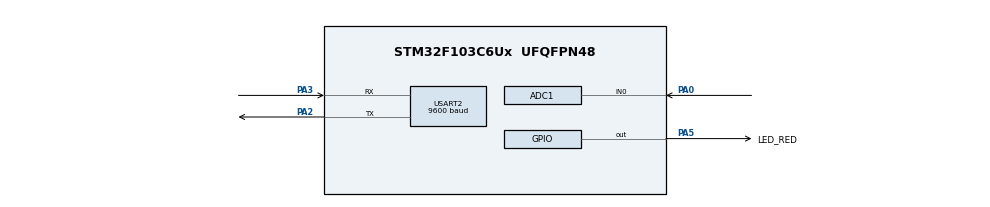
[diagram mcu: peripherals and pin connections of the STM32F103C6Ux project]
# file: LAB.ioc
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ADC1.Channel-0\#ChannelRegularConversion=ADC_CHANNEL_0
ADC1.ContinuousConvMode=ENABLE
ADC1.NbrOfConversionFlag=1
ADC1.Rank-0\#ChannelRegularConversion=1
ADC1.SamplingTime-0\#ChannelRegularConversion=ADC_SAMPLETIME_1CYCLE_5
ADC1.master=1
Mcu.Family=STM32F1
Mcu.Name=STM32F103C6Ux
Mcu.Package=UFQFPN48
NVIC.PriorityGroup=NVIC_PRIORITYGROUP_4
NVIC.USART2_IRQn=true\:0\:0\:false\:false\:true\:true\:true
PA0-WKUP.Signal=ADCx_IN0
PA2.Mode=Asynchronous
PA2.Signal=USART2_TX
PA3.Mode=Asynchronous
PA3.Signal=USART2_RX
PA5.GPIO_Label=LED_RED
PA5.Signal=GPIO_Output
PA6.Signal=S_TIM3_CH1
ProjectManager.HeapSize=0x200
ProjectManager.StackSize=0x400
ProjectManager.TargetToolchain=STM32CubeIDE
RCC.APB1Freq_Value=8000000
RCC.APB2Freq_Value=8000000
SH.ADCx_IN0.0=ADC1_IN0,IN0
SH.S_TIM3_CH1.0=TIM3_CH1
USART2.BaudRate=9600
USART2.VirtualMode=VM_ASYNC
VP_SYS_VS_ND.Mode=No_Debug
board=custom

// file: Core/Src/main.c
/* USER CODE BEGIN Header */
/**
  ******************************************************************************
  * @file           : main.c
  * @brief          : Main program body
  ******************************************************************************
  * @attention
  *
  * <h2><center>&copy; Copyright (c) 2025 STMicroelectronics.
  * All rights reserved.</center></h2>
  *
  * This software component is licensed by ST under BSD 3-Clause license,
  * the "License"; You may not use this file except in compliance with the
  * License. You may obtain a copy of the License at:
  *                        opensource.org/licenses/BSD-3-Clause
  *
  ******************************************************************************
  */
/* USER CODE END Header */
#include "main.h"

ADC_HandleTypeDef hadc1;

UART_HandleTypeDef huart2;

/* USER CODE BEGIN PV */
uint8_t temp = 0;
uint8_t buffer_flag = 0;
/* USER CODE END PV */

void SystemClock_Config(void);
static void MX_GPIO_Init(void);
static void MX_ADC1_Init(void);
static void MX_USART2_UART_Init(void);

/* USER CODE BEGIN 0 */
void HAL_UART_RxCpltCallback(UART_HandleTypeDef *huart){
	if(huart->Instance == USART2){
		buffer_flag = 1;
		HAL_UART_Transmit(&huart2, &temp, 1, 50);
		HAL_UART_Receive_IT(&huart2, (uint8_t *)&temp, 1);
	}
}
/* USER CODE END 0 */

int main(void)
{

  /* MCU Configuration--------------------------------------------------------*/

  /* Reset of all peripherals, Initializes the Flash interface and the Systick. */
  HAL_Init();

  /* Configure the system clock */
  SystemClock_Config();

  /* Initialize all configured peripherals */
  MX_GPIO_Init();
  MX_ADC1_Init();
  MX_USART2_UART_Init();
  /* USER CODE BEGIN 2 */
  protocol_fsm_init();
  HAL_UART_Receive_IT(&huart2, (uint8_t *)&temp, 1);
  /* USER CODE END 2 */

  /* Infinite loop */
  /* USER CODE BEGIN WHILE */
  // hello world
  HAL_UART_Transmit(&huart2, (uint8_t*)"Hello\r\n", 7, 100);

  while (1)
  {
	  if(buffer_flag == 1){
		  uint8_t b = temp;
		  uart_parser_fsm_put_char((char)b);
		  buffer_flag = 0;
	   }
	  protocol_fsm_run();
    /* USER CODE END WHILE */

  }
}

void SystemClock_Config(void)
{
  RCC_OscInitTypeDef RCC_OscInitStruct = {0};
  RCC_ClkInitTypeDef RCC_ClkInitStruct = {0};
  RCC_PeriphCLKInitTypeDef PeriphClkInit = {0};

  /** Initializes the RCC Oscillators according to the specified parameters
  * in the RCC_OscInitTypeDef structure.
  */
  RCC_OscInitStruct.OscillatorType = RCC_OSCILLATORTYPE_HSI;
  RCC_OscInitStruct.HSIState = RCC_HSI_ON;
  RCC_OscInitStruct.HSICalibrationValue = RCC_HSICALIBRATION_DEFAULT;
  RCC_OscInitStruct.PLL.PLLState = RCC_PLL_NONE;
  if (HAL_RCC_OscConfig(&RCC_OscInitStruct) != HAL_OK)
  {
    Error_Handler();
  }
  /** Initializes the CPU, AHB and APB buses clocks
  */
  RCC_ClkInitStruct.ClockType = RCC_CLOCKTYPE_HCLK|RCC_CLOCKTYPE_SYSCLK
                              |RCC_CLOCKTYPE_PCLK1|RCC_CLOCKTYPE_PCLK2;
  RCC_ClkInitStruct.SYSCLKSource = RCC_SYSCLKSOURCE_HSI;
  RCC_ClkInitStruct.AHBCLKDivider = RCC_SYSCLK_DIV1;
  RCC_ClkInitStruct.APB1CLKDivider = RCC_HCLK_DIV1;
  RCC_ClkInitStruct.APB2CLKDivider = RCC_HCLK_DIV1;

  if (HAL_RCC_ClockConfig(&RCC_ClkInitStruct, FLASH_LATENCY_0) != HAL_OK)
  {
    Error_Handler();
  }
  PeriphClkInit.PeriphClockSelection = RCC_PERIPHCLK_ADC;
  PeriphClkInit.AdcClockSelection = RCC_ADCPCLK2_DIV2;
  if (HAL_RCCEx_PeriphCLKConfig(&PeriphClkInit) != HAL_OK)
  {
    Error_Handler();
  }
}

static void MX_ADC1_Init(void)
{

  ADC_ChannelConfTypeDef sConfig = {0};

  /** Common config
  */
  hadc1.Instance = ADC1;
  hadc1.Init.ScanConvMode = ADC_SCAN_DISABLE;
  hadc1.Init.ContinuousConvMode = ENABLE;
  hadc1.Init.DiscontinuousConvMode = DISABLE;
  hadc1.Init.ExternalTrigConv = ADC_SOFTWARE_START;
  hadc1.Init.DataAlign = ADC_DATAALIGN_RIGHT;
  hadc1.Init.NbrOfConversion = 1;
  if (HAL_ADC_Init(&hadc1) != HAL_OK)
  {
    Error_Handler();
  }
  /** Configure Regular Channel
  */
  sConfig.Channel = ADC_CHANNEL_0;
  sConfig.Rank = ADC_REGULAR_RANK_1;
  sConfig.SamplingTime = ADC_SAMPLETIME_1CYCLE_5;
  if (HAL_ADC_ConfigChannel(&hadc1, &sConfig) != HAL_OK)
  {
    Error_Handler();
  }

}

static void MX_USART2_UART_Init(void)
{

  huart2.Instance = USART2;
  huart2.Init.BaudRate = 9600;
  huart2.Init.WordLength = UART_WORDLENGTH_8B;
  huart2.Init.StopBits = UART_STOPBITS_1;
  huart2.Init.Parity = UART_PARITY_NONE;
  huart2.Init.Mode = UART_MODE_TX_RX;
  huart2.Init.HwFlowCtl = UART_HWCONTROL_NONE;
  huart2.Init.OverSampling = UART_OVERSAMPLING_16;
  if (HAL_UART_Init(&huart2) != HAL_OK)
  {
    Error_Handler();
  }

}

static void MX_GPIO_Init(void)
{
  GPIO_InitTypeDef GPIO_InitStruct = {0};

  /* GPIO Ports Clock Enable */
  __HAL_RCC_GPIOA_CLK_ENABLE();

  /*Configure GPIO pin Output Level */
  HAL_GPIO_WritePin(LED_RED_GPIO_Port, LED_RED_Pin, GPIO_PIN_RESET);

  /*Configure GPIO pin : LED_RED_Pin */
  GPIO_InitStruct.Pin = LED_RED_Pin;
  GPIO_InitStruct.Mode = GPIO_MODE_OUTPUT_PP;
  GPIO_InitStruct.Pull = GPIO_NOPULL;
  GPIO_InitStruct.Speed = GPIO_SPEED_FREQ_LOW;
  HAL_GPIO_Init(LED_RED_GPIO_Port, &GPIO_InitStruct);

  /*Configure GPIO pin : PA6 */
  GPIO_InitStruct.Pin = GPIO_PIN_6;
  GPIO_InitStruct.Mode = GPIO_MODE_AF_PP;
  GPIO_InitStruct.Speed = GPIO_SPEED_FREQ_LOW;
  HAL_GPIO_Init(GPIOA, &GPIO_InitStruct);

}

void Error_Handler(void)
{
  __disable_irq();
  while (1)
  {
  }
}

/************************ (C) COPYRIGHT STMicroelectronics *****END OF FILE****/
